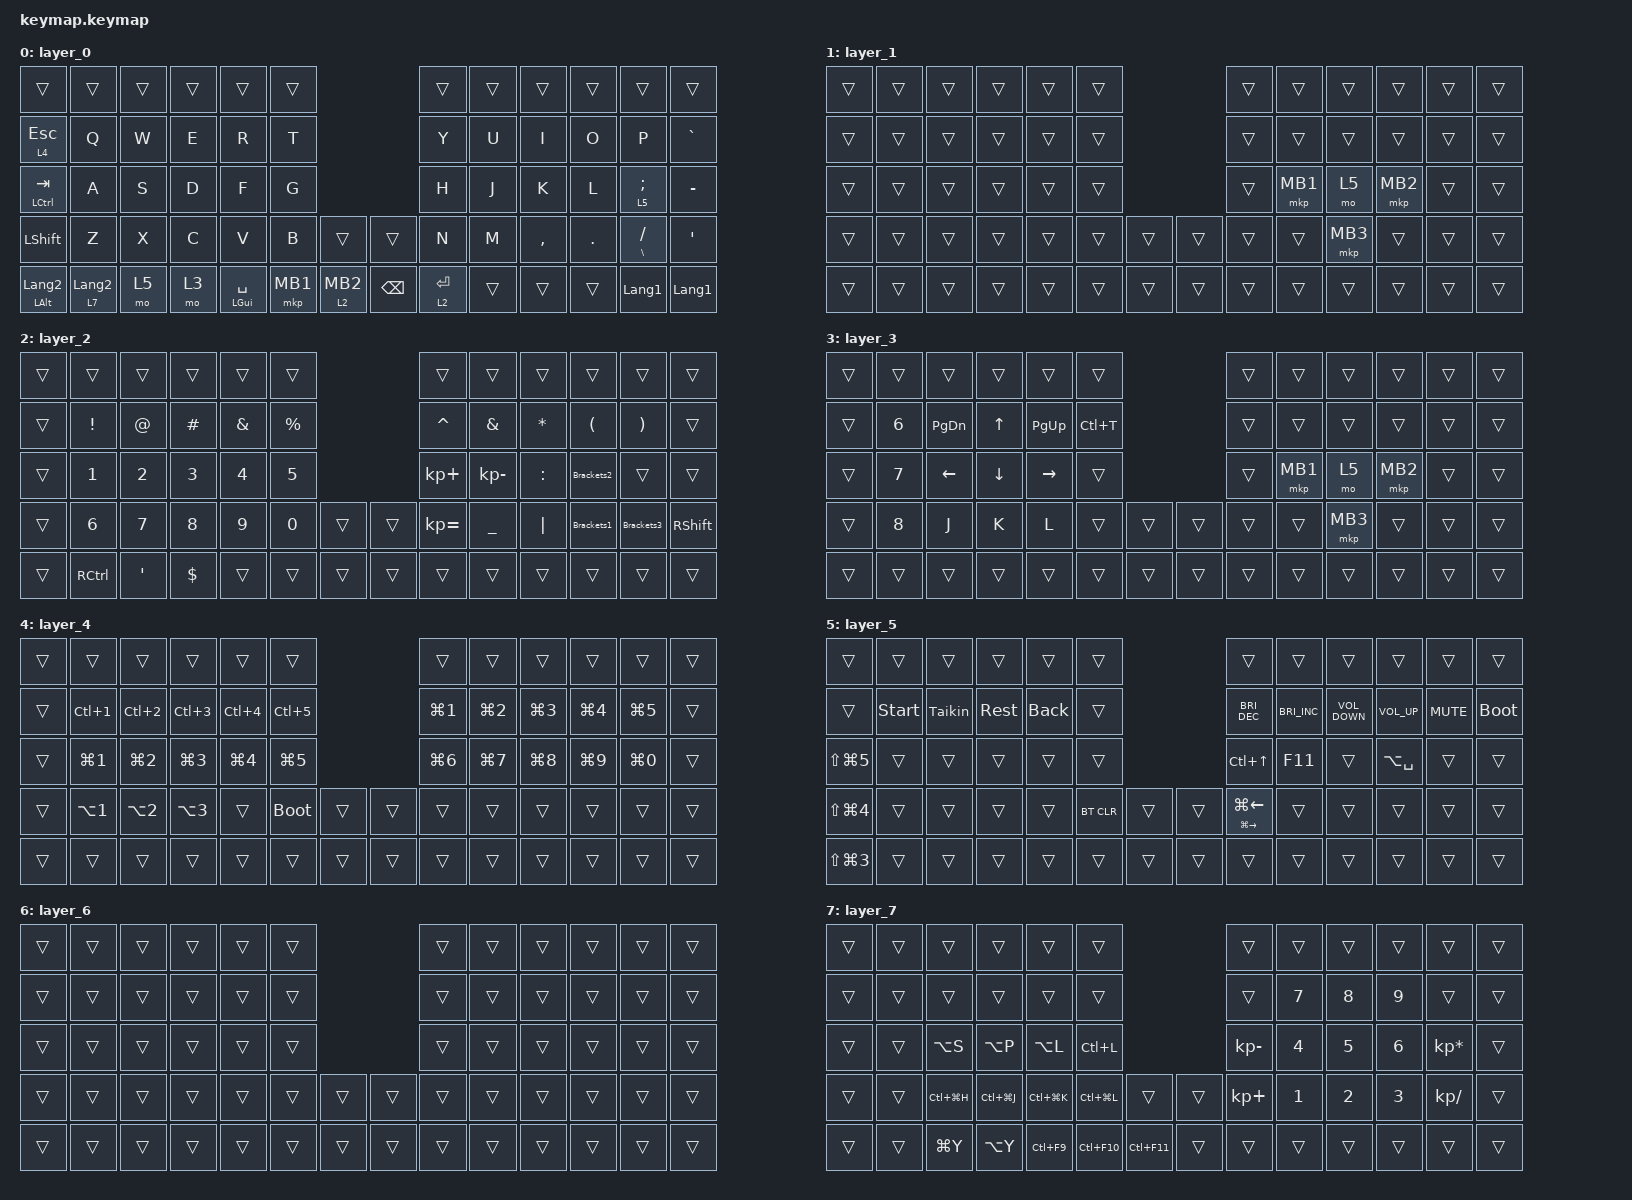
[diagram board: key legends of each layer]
#include <behaviors.dtsi>
#include <dt-bindings/zmk/bt.h>
#include <dt-bindings/zmk/keys.h>
#include <dt-bindings/zmk/pointing.h>

/ {
    combos {
        compatible = "zmk,combos";

        bt_clear {
            bindings = <&bt BT_CLR>;
            key-positions = <28 29>;
            layers = <2>;
        };
    };

    behaviors {
        Brackets1: Brackets1 {
            compatible = "zmk,behavior-tap-dance";
            label = "BRACKETS1";
            #binding-cells = <0>;
            bindings = <&HoldOrTap RIGHT_BRACKET LEFT_BRACKET>;
            tapping-term-ms = <120>;
        };

        HoldOrTap: HoldOrTap {
            compatible = "zmk,behavior-hold-tap";
            label = "HOLDORTAP";
            bindings = <&kp>, <&kp>;

            #binding-cells = <2>;
            tapping-term-ms = <120>;
            hold-trigger-on-release;
        };

        Brackets2: Brackets2 {
            compatible = "zmk,behavior-tap-dance";
            label = "BRACKETS2";
            #binding-cells = <0>;
            bindings = <&HoldOrTap RIGHT_BRACE LEFT_BRACE>;
            tapping-term-ms = <120>;
        };

        Brackets3: Brackets3 {
            compatible = "zmk,behavior-tap-dance";
            label = "BRACKETS3";
            #binding-cells = <0>;
            bindings = <&HoldOrTap GREATER_THAN LESS_THAN>;
            tapping-term-ms = <120>;
        };

        lm: Layer_MouseKey {
            compatible = "zmk,behavior-hold-tap";
            label = "Layer / Mouse Key";
            bindings = <&mo>, <&mkp>;

            #binding-cells = <2>;
            tapping-term-ms = <150>;
        };
    };

    macros {
        BracketsMacro: BracketsMacro {
            compatible = "zmk,behavior-macro";
            #binding-cells = <0>;
            bindings = <&kp LEFT_BRACKET &kp RIGHT_BRACKET &kp LEFT>;
            label = "BRACKETSMACRO";
        };

        BracketsMacro2: BracketsMacro2 {
            compatible = "zmk,behavior-macro";
            #binding-cells = <0>;
            bindings = <&kp LEFT_BRACE &kp RIGHT_BRACE &kp LEFT>;
            label = "BRACKETSMACRO2";
        };

        BracketsMacro3: Brackets3 {
            compatible = "zmk,behavior-macro";
            #binding-cells = <0>;
            bindings = <&kp LESS_THAN &kp GREATER_THAN &kp LEFT>;
            label = "BRACKETS3";
        };

        Start: Start {
            compatible = "zmk,behavior-macro";
            #binding-cells = <0>;
            bindings = <&kp LANGUAGE_1 &kp O &kp H &kp A &kp Y &kp O &kp U &kp G &kp O &kp Z &kp A &kp I &kp M &kp A &kp S &kp U &kp DOT &kp S &kp I &kp G &kp Y &kp O &kp U &kp S &kp I &kp M &kp A &kp S &kp U &kp DOT &kp SPACE &kp ENTER>;
            label = "START";
        };

        Rest: Rest {
            compatible = "zmk,behavior-macro";
            #binding-cells = <0>;
            bindings = <&kp LANGUAGE_1 &kp O &kp H &kp I &kp R &kp U &kp K &kp Y &kp U &kp U &kp K &kp E &kp I &kp I &kp T &kp A &kp D &kp A &kp K &kp I &kp M &kp A &kp S &kp U &kp DOT &kp SPACE &kp ENTER>;
            label = "REST";
        };

        Back: Back {
            compatible = "zmk,behavior-macro";
            #binding-cells = <0>;
            bindings = <&kp LANGUAGE_1 &kp M &kp O &kp D &kp O &kp R &kp I &kp M &kp A &kp S &kp I &kp T &kp A &kp DOT &kp SPACE &kp ENTER>;
            label = "BACK";
        };

        Taikin1: Taikin1 {
            compatible = "zmk,behavior-macro";
            #binding-cells = <0>;
            bindings = <&kp LANGUAGE_1 &kp T &kp A &kp I &kp K &kp I &kp N &kp S &kp I &kp M &kp A &kp S &kp U &kp DOT>;
            label = "TAIKIN1";
        };

        Taikin2: Taikin2 {
            compatible = "zmk,behavior-macro";
            #binding-cells = <0>;
            bindings = <&kp O &kp T &kp U &kp K &kp A &kp R &kp E &kp S &kp A &kp M &kp A &kp D &kp E &kp S &kp I &kp T &kp A &kp DOT &kp SPACE &kp RET>;
            label = "TAIKIN2";
        };

        Taikin: Taikin {
            compatible = "zmk,behavior-macro";
            #binding-cells = <0>;
            bindings = <&Taikin1 &Taikin2>;
            label = "TAIKIN";
        };
    };

    keymap {
        compatible = "zmk,keymap";

        layer_0 {
            bindings = <
&trans                   &trans            &trans  &trans  &trans              &trans                              &trans       &trans  &trans     &trans   &trans                      &trans
&lt 4 ESC                &kp Q             &kp W   &kp E   &kp R               &kp T                               &kp Y        &kp U   &kp I      &kp O    &kp P                       &kp GRAVE
&mt LCTRL TAB            &kp A             &kp S   &kp D   &kp F               &kp G                               &kp H        &kp J   &kp K      &kp L    &lt 5 SEMICOLON             &kp MINUS
&kp LEFT_SHIFT           &kp Z             &kp X   &kp C   &kp V               &kp B     &trans     &trans         &kp N        &kp M   &kp COMMA  &kp DOT  &HoldOrTap BACKSLASH SLASH  &kp SQT
&mt LEFT_ALT LANGUAGE_2  &lt 7 LANGUAGE_2  &mo 5   &mo 3   &mt LEFT_GUI SPACE  &mkp MB1  &lm 2 MB2  &kp BACKSPACE  &lt 2 ENTER  &trans  &trans     &trans   &kp LANGUAGE_1              &kp LANGUAGE_1
            >;
        };

        layer_1 {
            bindings = <
&trans  &trans  &trans  &trans  &trans  &trans                  &trans  &trans    &trans    &trans    &trans  &trans
&trans  &trans  &trans  &trans  &trans  &trans                  &trans  &trans    &trans    &trans    &trans  &trans
&trans  &trans  &trans  &trans  &trans  &trans                  &trans  &mkp MB1  &mo 5     &mkp MB2  &trans  &trans
&trans  &trans  &trans  &trans  &trans  &trans  &trans  &trans  &trans  &trans    &mkp MB3  &trans    &trans  &trans
&trans  &trans  &trans  &trans  &trans  &trans  &trans  &trans  &trans  &trans    &trans    &trans    &trans  &trans
            >;
        };

        layer_2 {
            bindings = <
&trans  &trans     &trans          &trans      &trans    &trans                     &trans        &trans          &trans     &trans      &trans      &trans
&trans  &kp EXCL   &kp AT          &kp HASH    &kp AMPS  &kp PRCNT                  &kp CARET     &kp AMPS        &kp ASTRK  &kp LPAR    &kp RPAR    &trans
&trans  &kp N1     &kp N2          &kp N3      &kp N4    &kp N5                     &kp KP_PLUS   &kp KP_MINUS    &kp COLON  &Brackets2  &trans      &trans
&trans  &kp N6     &kp N7          &kp N8      &kp N9    &kp N0     &trans  &trans  &kp KP_EQUAL  &kp UNDERSCORE  &kp PIPE   &Brackets1  &Brackets3  &kp RIGHT_SHIFT
&trans  &kp RCTRL  &kp APOSTROPHE  &kp DOLLAR  &trans    &trans     &trans  &trans  &trans        &trans          &trans     &trans      &trans      &trans
            >;
        };

        layer_3 {
            bindings = <
&trans  &trans        &trans         &trans    &trans       &trans                     &trans  &trans    &trans    &trans    &trans  &trans
&trans  &kp NUMBER_6  &kp PAGE_DOWN  &kp UP    &kp PAGE_UP  &kp LC(T)                  &trans  &trans    &trans    &trans    &trans  &trans
&trans  &kp NUMBER_7  &kp LEFT       &kp DOWN  &kp RIGHT    &trans                     &trans  &mkp MB1  &mo 5     &mkp MB2  &trans  &trans
&trans  &kp NUMBER_8  &kp J          &kp K     &kp L        &trans     &trans  &trans  &trans  &trans    &mkp MB3  &trans    &trans  &trans
&trans  &trans        &trans         &trans    &trans       &trans     &trans  &trans  &trans  &trans    &trans    &trans    &trans  &trans
            >;
        };

        layer_4 {
            bindings = <
&trans  &trans            &trans            &trans            &trans            &trans                            &trans            &trans            &trans            &trans            &trans            &trans
&trans  &kp LC(NUMBER_1)  &kp LC(NUMBER_2)  &kp LC(NUMBER_3)  &kp LC(NUMBER_4)  &kp LC(NUMBER_5)                  &kp LG(NUMBER_1)  &kp LG(NUMBER_2)  &kp LG(NUMBER_3)  &kp LG(NUMBER_4)  &kp LG(NUMBER_5)  &trans
&trans  &kp LG(NUMBER_1)  &kp LG(NUMBER_2)  &kp LG(NUMBER_3)  &kp LG(NUMBER_4)  &kp LG(NUMBER_5)                  &kp LG(NUMBER_6)  &kp LG(NUMBER_7)  &kp LG(NUMBER_8)  &kp LG(NUMBER_9)  &kp LG(NUMBER_0)  &trans
&trans  &kp LA(NUMBER_1)  &kp LA(NUMBER_2)  &kp LA(NUMBER_3)  &trans            &bootloader       &trans  &trans  &trans            &trans            &trans            &trans            &trans            &trans
&trans  &trans            &trans            &trans            &trans            &trans            &trans  &trans  &trans            &trans            &trans            &trans            &trans            &trans
            >;
        };

        layer_5 {
            bindings = <
&trans                &trans  &trans   &trans  &trans  &trans                      &trans                                     &trans                &trans             &trans           &trans      &trans
&trans                &Start  &Taikin  &Rest   &Back   &trans                      &kp C_BRIGHTNESS_DEC                       &kp C_BRIGHTNESS_INC  &kp C_VOLUME_DOWN  &kp C_VOLUME_UP  &kp K_MUTE  &bootloader
&kp LS(LG(NUMBER_5))  &trans  &trans   &trans  &trans  &trans                      &kp LC(UP_ARROW)                           &kp F11               &trans             &kp LA(SPACE)    &trans      &trans
&kp LS(LG(NUMBER_4))  &trans  &trans   &trans  &trans  &bt BT_CLR  &trans  &trans  &HoldOrTap LG(RIGHT_ARROW) LG(LEFT_ARROW)  &trans                &trans             &trans           &trans      &trans
&kp LS(LG(NUMBER_3))  &trans  &trans   &trans  &trans  &trans      &trans  &trans  &trans                                     &trans                &trans             &trans           &trans      &trans
            >;
        };

        layer_6 {
            bindings = <
&trans  &trans  &trans  &trans  &trans  &trans                  &trans  &trans  &trans  &trans  &trans  &trans
&trans  &trans  &trans  &trans  &trans  &trans                  &trans  &trans  &trans  &trans  &trans  &trans
&trans  &trans  &trans  &trans  &trans  &trans                  &trans  &trans  &trans  &trans  &trans  &trans
&trans  &trans  &trans  &trans  &trans  &trans  &trans  &trans  &trans  &trans  &trans  &trans  &trans  &trans
&trans  &trans  &trans  &trans  &trans  &trans  &trans  &trans  &trans  &trans  &trans  &trans  &trans  &trans
            >;
        };

        layer_7 {
            bindings = <
&trans  &trans  &trans         &trans         &trans         &trans                              &trans        &trans        &trans        &trans        &trans           &trans
&trans  &trans  &trans         &trans         &trans         &trans                              &trans        &kp NUMBER_7  &kp NUMBER_8  &kp NUMBER_9  &trans           &trans
&trans  &trans  &kp LA(S)      &kp LA(P)      &kp LA(L)      &kp LC(L)                           &kp KP_MINUS  &kp NUMBER_4  &kp NUMBER_5  &kp NUMBER_6  &kp KP_ASTERISK  &trans
&trans  &trans  &kp LC(LG(H))  &kp LC(LG(J))  &kp LC(LG(K))  &kp LC(LG(L))  &trans       &trans  &kp KP_PLUS   &kp NUMBER_1  &kp NUMBER_2  &kp NUMBER_3  &kp KP_SLASH     &trans
&trans  &trans  &kp LG(Y)      &kp LA(Y)      &kp LC(F9)     &kp LC(F10)    &kp LC(F11)  &trans  &trans        &trans        &trans        &trans        &trans           &trans
            >;
        };
    };
};

// グローバルタッピングターム設定

&mt { tapping-term-ms = <150>; };

&lt { tapping-term-ms = <150>; };
